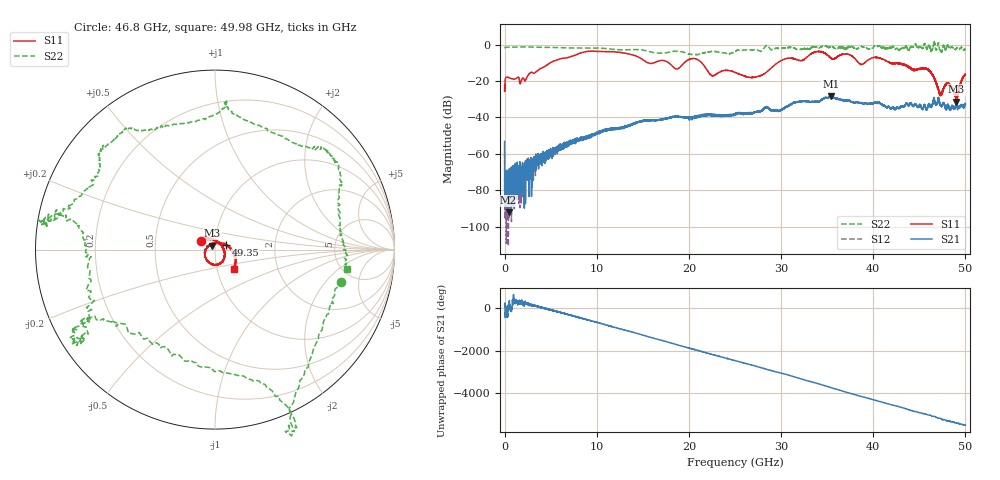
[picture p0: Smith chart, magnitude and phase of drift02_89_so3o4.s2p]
!Created with skrf (http://scikit-rf.org).
# Hz S RI R 50.0
!freq ReS11 ImS11 ReS21 ImS21 ReS12 ImS12 ReS22 ImS22
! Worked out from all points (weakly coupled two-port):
!   10001 points, 300 kHz to 50 GHz, reference 50 ohm
!   highest |S21| = -28.50 dB at 35.38 GHz (marker M1); lowest = -92.0 dB at 425.3 MHz (marker M2)
!   lowest |S11| = -31.3 dB at 49.02 GHz (marker M3), VSWR 1.06, Z = 48.5 + j2.2 ohm
!   |S11| at or under -10 dB: start of sweep to 4.957 GHz; 21.39 GHz to 29.63 GHz (8.241 GHz wide, 32.3 % of centre); 41.88 GHz to end of sweep (the widest 3 of 9)
!   |S22| runs from -5.7 to 2.2 dB; largest |S21 - S12| = 0.0037
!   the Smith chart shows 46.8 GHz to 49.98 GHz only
!   S11 on the Smith chart (normalised r, x): 46.8 GHz: 0.85, +0.08; 49.35 GHz: 1.13, +0.05; 49.98 GHz: 1.21, -0.26
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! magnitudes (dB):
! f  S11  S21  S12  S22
! 300 kHz  -22.2  -53.1  -59.1  -2.1
! 255.3 MHz  -17.9  -78.2  -71.3  -1.4
! 425.3 MHz  -18.1  -92.0  -73.4  -1.4
! 1.87 GHz  -19.1  -71.9  -71.7  -1.3
! 8.335 GHz  -4.5  -52.1  -51.5  -1.9
! 16.67 GHz  -9.1  -41.6  -41.2  -4.7
! 18.71 GHz  -13.4  -39.6  -39.5  -3.7
! 20.6 GHz  -7.7  -40.3  -39.9  -5.7
! 22.52 GHz  -17.1  -38.4  -38.2  -3.7
! 25 GHz  -15.3  -38.1  -38.4  -3.9
! 27.47 GHz  -17.6  -36.7  -36.5  -3.2
! 33.34 GHz  -4.9  -31.3  -31.3  -1.6
! 35.38 GHz  -7.4  -28.5  -28.7  -1.5
! 41.67 GHz  -9.6  -33.8  -34.2  -2.0
! 45.79 GHz  -13.5  -35.6  -35.5  -2.3
! 46.8 GHz  -20.6  -32.7  -33.2  -2.8
! 47.28 GHz  -26.6  -32.8  -32.9  -3.3
! 48.1 GHz  -21.7  -33.0  -33.0  -0.4
! 49.02 GHz  -31.3  -33.3  -34.0  -2.0
! 49.35 GHz  -23.7  -33.7  -34.0  -2.7
! 49.98 GHz  -16.4  -33.2  -32.8  -2.6
! 50 GHz  -16.4  -33.0  -33.0  -2.7
